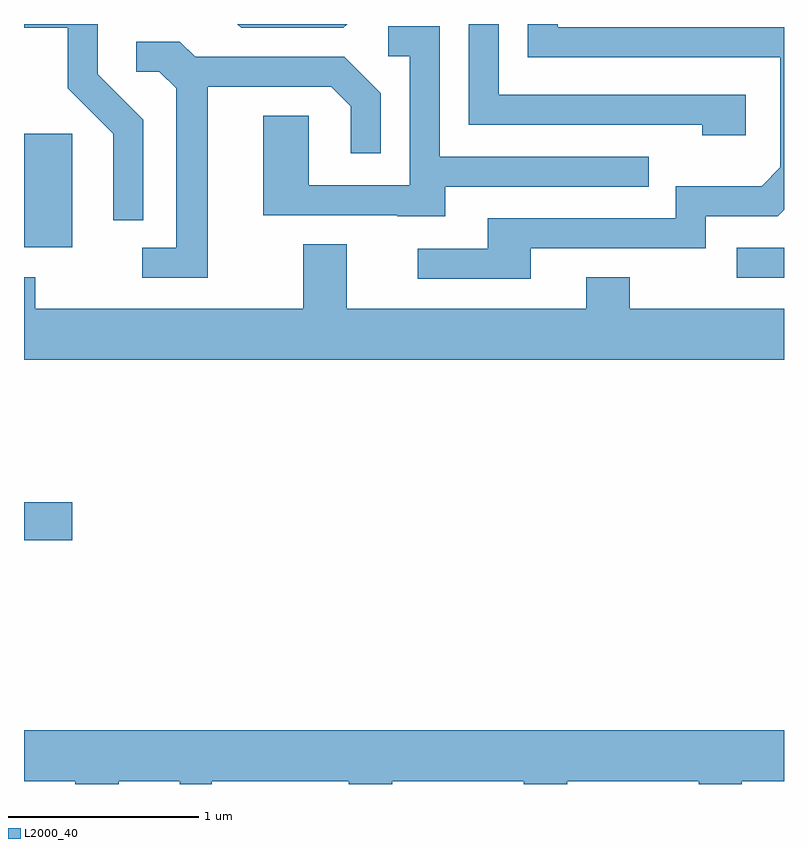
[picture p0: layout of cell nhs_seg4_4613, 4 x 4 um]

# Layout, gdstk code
import gdstk
lib = gdstk.Library(unit=1e-6, precision=1e-09)
def R(c, l, rs):  # rectangles x0, y0, x1, y1
    for r in rs: c.add(gdstk.rectangle(r[:2], r[2:], *l))
def P(c, l, *ps):  # polygons
    for p in ps: c.add(gdstk.Polygon(p, *l))
L2000_40 = (2000, 40)

nhs_seg4_4613 = lib.new_cell('nhs_seg4_4613')
R(nhs_seg4_4613, L2000_40, [(319.611,1369.266,319.864,1369.464), (323.363,1370.646,323.611,1370.804), (319.611,1370.806,319.864,1371.404)])
P(nhs_seg4_4613, L2000_40, [(322.279,1370.801),(323.199,1370.801),(323.199,1370.971),(323.577,1370.971),(323.611,1371.005),(323.611,1371.964),(322.419,1371.964),(322.419,1371.982),(322.261,1371.982),(322.261,1371.806),(323.591,1371.806),(323.591,1371.227),(323.494,1371.129),(323.041,1371.129),(323.041,1370.959),(322.051,1370.959),(322.051,1370.799),(321.683,1370.799),(321.683,1370.641),(322.279,1370.641)],
  [(323.409,1371.609),(322.109,1371.609),(322.109,1371.982),(321.951,1371.982),(321.951,1371.451),(323.181,1371.451),(323.181,1371.396),(323.409,1371.396)],
  [(320.239,1371.477),(319.999,1371.717),(319.999,1371.982),(319.611,1371.982),(319.611,1371.961),(319.841,1371.961),(319.841,1371.644),(320.081,1371.404),(320.081,1370.948),(320.239,1370.948)],
  [(321.313,1371.982),(320.733,1371.982),(320.754,1371.961),(321.292,1371.961)],
  [(321.829,1371.126),(322.898,1371.126),(322.898,1371.284),(321.799,1371.284),(321.799,1371.969),(321.528,1371.969),(321.528,1371.811),(321.641,1371.811),(321.641,1371.134),(321.109,1371.134),(321.109,1371.499),(320.871,1371.499),(320.871,1370.976),(321.575,1370.976),(321.575,1370.971),(321.829,1370.971)],
  [(320.579,1371.651),(321.229,1371.651),(321.331,1371.549),(321.331,1371.303),(321.489,1371.303),(321.489,1371.617),(321.297,1371.809),(320.512,1371.809),(320.432,1371.889),(320.203,1371.889),(320.203,1371.731),(320.324,1371.731),(320.411,1371.644),(320.411,1370.804),(320.233,1370.804),(320.233,1370.646),(320.579,1370.646)],
  [(323.611,1370.484),(322.799,1370.484),(322.799,1370.649),(322.571,1370.649),(322.571,1370.484),(321.309,1370.484),(321.309,1370.824),(321.081,1370.824),(321.081,1370.484),(319.669,1370.484),(319.669,1370.649),(319.611,1370.649),(319.611,1370.216),(323.611,1370.216)],
  [(320.109,1367.996),(320.431,1367.996),(320.431,1367.982),(320.599,1367.982),(320.599,1367.996),(321.321,1367.996),(321.321,1367.982),(321.549,1367.982),(321.549,1367.996),(322.241,1367.996),(322.241,1367.982),(322.469,1367.982),(322.469,1367.996),(323.161,1367.996),(323.161,1367.982),(323.389,1367.982),(323.389,1367.996),(323.611,1367.996),(323.611,1368.264),(319.611,1368.264),(319.611,1367.996),(319.881,1367.996),(319.881,1367.982),(320.109,1367.982)])

lib.write_gds('nhs_seg4_4613.gds')
